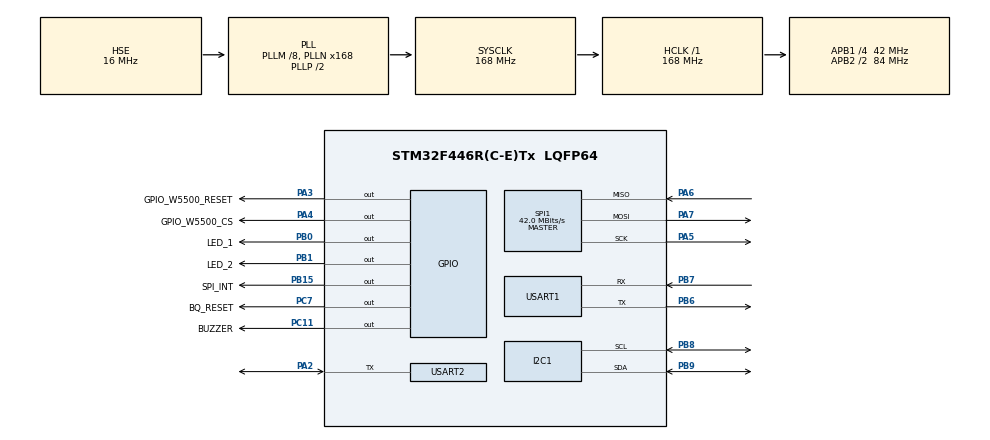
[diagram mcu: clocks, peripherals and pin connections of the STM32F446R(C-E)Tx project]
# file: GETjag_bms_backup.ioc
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Dma.I2C1_RX.0.Direction=DMA_PERIPH_TO_MEMORY
Dma.I2C1_RX.0.FIFOMode=DMA_FIFOMODE_DISABLE
Dma.I2C1_RX.0.Instance=DMA1_Stream0
Dma.I2C1_RX.0.MemDataAlignment=DMA_MDATAALIGN_BYTE
Dma.I2C1_RX.0.MemInc=DMA_MINC_ENABLE
Dma.I2C1_RX.0.Mode=DMA_NORMAL
Dma.I2C1_RX.0.PeriphDataAlignment=DMA_PDATAALIGN_BYTE
Dma.I2C1_RX.0.PeriphInc=DMA_PINC_DISABLE
Dma.I2C1_RX.0.Priority=DMA_PRIORITY_LOW
Dma.I2C1_TX.1.Direction=DMA_MEMORY_TO_PERIPH
Dma.I2C1_TX.1.FIFOMode=DMA_FIFOMODE_DISABLE
Dma.I2C1_TX.1.Instance=DMA1_Stream6
Dma.I2C1_TX.1.MemDataAlignment=DMA_MDATAALIGN_BYTE
Dma.I2C1_TX.1.MemInc=DMA_MINC_ENABLE
Dma.I2C1_TX.1.Mode=DMA_NORMAL
Dma.I2C1_TX.1.PeriphDataAlignment=DMA_PDATAALIGN_BYTE
Dma.I2C1_TX.1.PeriphInc=DMA_PINC_DISABLE
Dma.I2C1_TX.1.Priority=DMA_PRIORITY_LOW
Dma.Request0=I2C1_RX
Dma.Request1=I2C1_TX
Mcu.Family=STM32F4
Mcu.Name=STM32F446R(C-E)Tx
Mcu.Package=LQFP64
NVIC.DMA1_Stream0_IRQn=true\:0\:0\:false\:false\:true\:false\:true\:true
NVIC.DMA1_Stream6_IRQn=true\:0\:0\:false\:false\:true\:false\:true\:true
NVIC.PriorityGroup=NVIC_PRIORITYGROUP_4
NVIC.TIM6_DAC_IRQn=true\:15\:0\:false\:false\:true\:false\:true\:true
NVIC.TimeBase=TIM6_DAC_IRQn
NVIC.TimeBaseIP=TIM6
PA13.Signal=SYS_JTMS-SWDIO
PA14.GPIO_Label=TCK
PA14.Signal=SYS_JTCK-SWCLK
PA2.Mode=Half_duplex(single_wire_mode)
PA2.Signal=USART2_TX
PA3.GPIO_Label=GPIO_W5500_RESET
PA3.Signal=GPIO_Output
PA4.GPIO_Label=GPIO_W5500_CS
PA4.Signal=GPIO_Output
PA5.Mode=Full_Duplex_Master
PA5.Signal=SPI1_SCK
PA6.Mode=Full_Duplex_Master
PA6.Signal=SPI1_MISO
PA7.Mode=Full_Duplex_Master
PA7.Signal=SPI1_MOSI
PB0.GPIO_Label=LED_1
PB0.Signal=GPIO_Output
PB1.GPIO_Label=LED_2
PB1.Signal=GPIO_Output
PB15.GPIO_Label=SPI_INT
PB15.Signal=GPIO_Output
PB6.Mode=Asynchronous
PB6.Signal=USART1_TX
PB7.Mode=Asynchronous
PB7.Signal=USART1_RX
PB8.Mode=I2C
PB8.Signal=I2C1_SCL
PB9.Mode=I2C
PB9.Signal=I2C1_SDA
PC11.GPIO_Label=BUZZER
PC11.GPIO_PuPd=GPIO_NOPULL
PC11.Signal=GPIO_Output
PC7.GPIO_Label=BQ_RESET
PC7.GPIO_PuPd=GPIO_PULLDOWN
PC7.Signal=GPIO_Output
PH0-OSC_IN.Mode=HSE-External-Oscillator
PH0-OSC_IN.Signal=RCC_OSC_IN
PH1-OSC_OUT.Mode=HSE-External-Oscillator
PH1-OSC_OUT.Signal=RCC_OSC_OUT
ProjectManager.HeapSize=0x200
ProjectManager.StackSize=0x400
ProjectManager.TargetToolchain=STM32CubeIDE
RCC.48MHZClocksFreq_Value=84000000
RCC.AHBFreq_Value=168000000
RCC.APB1CLKDivider=RCC_HCLK_DIV4
RCC.APB1Freq_Value=42000000
RCC.APB1TimFreq_Value=84000000
RCC.APB2CLKDivider=RCC_HCLK_DIV2
RCC.APB2Freq_Value=84000000
RCC.APB2TimFreq_Value=168000000
RCC.CortexFreq_Value=168000000
RCC.FLatency-AdvancedSettings=FLASH_LATENCY_5
RCC.HCLKFreq_Value=168000000
RCC.HSE_VALUE=16000000
RCC.HSI_VALUE=16000000
RCC.PLLM=8
RCC.PLLN=168
RCC.PLLSourceVirtual=RCC_PLLSOURCE_HSE
RCC.SYSCLKFreq_VALUE=168000000
RCC.SYSCLKSource=RCC_SYSCLKSOURCE_PLLCLK
RCC.USBFreq_Value=168000000
RCC.VCOOutputFreq_Value=336000000
SPI1.CalculateBaudRate=42.0 MBits/s
SPI1.Direction=SPI_DIRECTION_2LINES
SPI1.Mode=SPI_MODE_MASTER
SPI1.VirtualType=VM_MASTER
USART1.VirtualMode=VM_ASYNC
USART2.VirtualMode=VM_ASYNC
VP_SYS_VS_tim6.Mode=TIM6
VP_TIM10_VS_ClockSourceINT.Mode=Enable_Timer
board=NUCLEO-F446RE

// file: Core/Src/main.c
/* USER CODE BEGIN Header */
/**
 ******************************************************************************
 * @file           : main.c
 * @brief          : Main program body
 ******************************************************************************
 * @attention
 *
 * Copyright (c) 2024 STMicroelectronics.
 * All rights reserved.
 *
 * This software is licensed under terms that can be found in the LICENSE file
 * in the root directory of this software component.
 * If no LICENSE file comes with this software, it is provided AS-IS.
 *
 ******************************************************************************
 */
/* USER CODE END Header */
#include "main.h"

/* USER CODE BEGIN Includes */
// #include "delay.h"
#include "spi.h"
#include "modbus.h"
#include <stdio.h>
#include <stdlib.h>
#include <stdarg.h>
#include <string.h>
#include "socket.h"
#include "wizchip_conf.h"
#include "FreeRTOS.h"
#include "task.h"
#include "BQ769x2Header.h"
#include "utils.h"
/* USER CODE END Includes */

/* USER CODE BEGIN PTD */
typedef enum
{
  Bit_RESET = 0,
  Bit_SET
} BitAction;

/* USER CODE END PTD */

/* USER CODE BEGIN PD */
/* USER CODE BEGIN PD */
#define HTTP_SOCKET 0
// #define PORT_TCPS 5000
#define DATA_BUF_SIZE 2048
uint8_t gDATABUF[DATA_BUF_SIZE];
#define SEPARATOR "=============================================\r\n"
#define WELCOME_MSG "Welcome to STM32Nucleo Ethernet configuration\r\n"
#define NETWORK_MSG "Network configuration:\r\n"
#define IP_MSG "  IP ADDRESS:  %d.%d.%d.%d\r\n"
#define NETMASK_MSG "  NETMASK:     %d.%d.%d.%d\r\n"
#define GW_MSG "  GATEWAY:     %d.%d.%d.%d\r\n"
#define MAC_MSG "  MAC ADDRESS: %x:%x:%x:%x:%x:%x\r\n"
#define GREETING_MSG "Well done guys! Welcome to the IoT world. Bye!\r\n"
#define CONN_ESTABLISHED_MSG "Connection established with remote IP: %d.%d.%d.%d:%d\r\n"
#define SENT_MESSAGE_MSG "Sent a message. Let's close the socket!\r\n"
#define WRONG_RETVAL_MSG "Something went wrong; return value: %d\r\n"
#define WRONG_STATUS_MSG "Something went wrong; STATUS: %d\r\n"
#define LISTEN_ERR_MSG "LISTEN Error!\r\n"

#define PRINT_STR(msg)                                            \
  do                                                              \
  {                                                               \
    HAL_UART_Transmit(&huart2, (uint8_t *)msg, strlen(msg), 100); \
  } while (0)

#define PRINT_HEADER()                                                            \
  do                                                                              \
  {                                                                               \
    HAL_UART_Transmit(&huart2, (uint8_t *)SEPARATOR, strlen(SEPARATOR), 100);     \
    HAL_UART_Transmit(&huart2, (uint8_t *)WELCOME_MSG, strlen(WELCOME_MSG), 100); \
    HAL_UART_Transmit(&huart2, (uint8_t *)SEPARATOR, strlen(SEPARATOR), 100);     \
  } while (0)

#define PRINT_NETINFO(netInfo)                                                                                             \
  do                                                                                                                       \
  {                                                                                                                        \
    HAL_UART_Transmit(&huart2, (uint8_t *)NETWORK_MSG, strlen(NETWORK_MSG), 100);                                          \
    sprintf(msg, MAC_MSG, netInfo.mac[0], netInfo.mac[1], netInfo.mac[2], netInfo.mac[3], netInfo.mac[4], netInfo.mac[5]); \
    HAL_UART_Transmit(&huart2, (uint8_t *)msg, strlen(msg), 100);                                                          \
    sprintf(msg, IP_MSG, netInfo.ip[0], netInfo.ip[1], netInfo.ip[2], netInfo.ip[3]);                                      \
    HAL_UART_Transmit(&huart2, (uint8_t *)msg, strlen(msg), 100);                                                          \
    sprintf(msg, NETMASK_MSG, netInfo.sn[0], netInfo.sn[1], netInfo.sn[2], netInfo.sn[3]);                                 \
    HAL_UART_Transmit(&huart2, (uint8_t *)msg, strlen(msg), 100);                                                          \
    sprintf(msg, GW_MSG, netInfo.gw[0], netInfo.gw[1], netInfo.gw[2], netInfo.gw[3]);                                      \
    HAL_UART_Transmit(&huart2, (uint8_t *)msg, strlen(msg), 100);                                                          \
  } while (0)

char msg[60];

#define LISTEN_PORT 502
#define RECEIVE_BUFF_SIZE 128

#define EEPROM_I2C_ADDRESS 0xA0
#define EEPROM_MEM_ADDRESS_SIZE I2C_MEMADD_SIZE_16BIT

// Enable cycle count for STM32
#define DWT_CTRL (*(volatile uint32_t *)0xE0001000)

// BQ76952 definations
#define EEPROM_ADDRESS 0x57 << 1
#define DEV_ADDR 0x10 // BQ769x2 address is 0x10 including R/W bit or 0x8 as 7-bit address
#define CRC_Mode 0    // 0 for disabled, 1 for enabled
#define MAX_BUFFER_SIZE 10
#define R 0  // Read; Used in DirectCommands and Subcommands functions
#define W 1  // Write; Used in DirectCommands and Subcommands functions
#define W2 2 // Write data with two bytes; Used in Subcommands function
#define NEW_I2C_ADDR 0x12

/* USER CODE END PD */

I2C_HandleTypeDef hi2c1;
DMA_HandleTypeDef hdma_i2c1_rx;
DMA_HandleTypeDef hdma_i2c1_tx;

SPI_HandleTypeDef hspi1;

TIM_HandleTypeDef htim10;

UART_HandleTypeDef huart1;
UART_HandleTypeDef huart2;

/* USER CODE BEGIN PV */
int16_t statusClient;
uint8_t statusSlave;
uint8_t tcp_error = 0;
uint8_t rtu_error = 0;
uint8_t TX_buffer[128];
uint8_t send_size;
uint8_t RX_buffer[128];
uint8_t recv_size;
uint16_t cntSend = 0;

uint8_t FrameNrBytes = 0;

// Set I.P address of slave

wiz_NetInfo gWIZNETINFO = {
    .mac = {0x00, 0x08, 0xdc, 0xab, 0xcd, 0xef},
    .ip = {192, 168, 137, 14},
    .sn = {255, 255, 255, 0},
    .gw = {192, 168, 3, 1},
    .dns = {8, 8, 8, 8},
    .dhcp = NETINFO_STATIC};
uint8_t RX_buffer[RX_buffer_length];

uint16_t holding_register[64] = {
    0x00, 0x00, 0x00, 0x00, 0x00, 0x00, 0x00, 0x00,
    0x00, 0x00, 0x00, 0x00, 0x00, 0x00, 0x00, 0x00,
    0x00, 0x00, 0x00, 0x00, 0x00, 0x00, 0x00, 0x00,
    0x00, 0x00, 0x00, 0x00, 0x00, 0x00, 0x00, 0x00,
    0x00, 0x00, 0x00, 0x00, 0x00, 0x00, 0x00, 0x00,
    0x00, 0x00, 0x00, 0x00, 0x00, 0x00, 0x00, 0x00,
    0x00, 0x00, 0x00, 0x00, 0x00, 0x00, 0x00, 0x00,
    0x00, 0x00, 0x00, 0x00, 0x00, 0x00, 0x00, 0x00
};

float ocv_simple[11] = {4.16, 4.07, 3.99, 3.90, 3.82, 3.72, 3.61, 3.53, 3.38, 3.20, 2.85};
float soc_simple[11] = {100.0, 90.0, 80.0, 70.0, 60.0, 50.0, 40.0, 30.0, 20.0, 10.0, 0.0};

TaskHandle_t modbus_task_handle = NULL;
TaskHandle_t task1_handle = NULL;
TaskHandle_t readVoltage_handle = NULL;
BaseType_t status;

uint8_t sr = 0x00;

// BQ78952 Private Variables
uint8_t RX_data[2] = {0x00, 0x00}; // used in several functions to store data read from BQ769x2
uint8_t RX_32Byte[32] = {0x00, 0x00, 0x00, 0x00, 0x00, 0x00, 0x00, 0x00, 0x00, 0x00, 0x00, 0x00, 0x00, 0x00, 0x00, 0x00,
                         0x00, 0x00, 0x00, 0x00, 0x00, 0x00, 0x00, 0x00, 0x00, 0x00, 0x00, 0x00, 0x00, 0x00, 0x00, 0x00};
// used in Subcommands read function
// Global Variables for cell voltages, temperatures, Stack voltage, PACK Pin voltage, LD Pin voltage, CC2 current
uint16_t CellVoltage[16] = {0x00, 0x00, 0x00, 0x00, 0x00, 0x00, 0x00, 0x00, 0x00, 0x00, 0x00, 0x00, 0x00, 0x00, 0x00, 0x00};
float Temperature[3] = {0, 0, 0};
uint16_t Stack_Voltage = 0x00;
uint16_t Pack_Voltage = 0x00;
uint16_t LD_Voltage = 0x00;
uint16_t Pack_Current = 0x00;

uint16_t AlarmBits = 0x00;
uint8_t value_SafetyStatusA; // Safety Status Register A
uint8_t value_SafetyStatusB; // Safety Status Register B
uint8_t value_SafetyStatusC; // Safety Status Register C
uint8_t value_PFStatusA;     // Permanent Fail Status Register A
uint8_t value_PFStatusB;     // Permanent Fail Status Register B
uint8_t value_PFStatusC;     // Permanent Fail Status Register C
uint8_t FET_Status;          // FET Status register contents  - Shows states of FETs
uint16_t CB_ActiveCells;     // Cell Balancing Active Cells

uint8_t UV_Fault = 0;             // under-voltage fault state
uint8_t OV_Fault = 0;             // over-voltage fault state
uint8_t SCD_Fault = 0;            // short-circuit fault state
uint8_t OCD_Fault = 0;            // over-current fault state
uint8_t ProtectionsTriggered = 0; // Set to 1 if any protection triggers

uint8_t LD_ON = 0; // Load Detect status bit
uint8_t DSG = 0;   // discharge FET state
uint8_t CHG = 0;   // charge FET state
uint8_t PCHG = 0;  // pre-charge FET state
uint8_t PDSG = 0;  // pre-discharge FET state

uint32_t AccumulatedCharge_Int;  // in BQ769x2_READPASSQ func
uint32_t AccumulatedCharge_Frac; // in BQ769x2_READPASSQ func
uint32_t AccumulatedCharge_Time; // in BQ769x2_READPASSQ func

/* USER CODE END PV */

void SystemClock_Config(void);
static void MX_GPIO_Init(void);
static void MX_DMA_Init(void);
static void MX_USART1_UART_Init(void);
static void MX_SPI1_Init(void);
static void MX_USART2_UART_Init(void);
static void MX_I2C1_Init(void);
static void MX_TIM10_Init(void);
/* USER CODE BEGIN PFP */

void wizchip_select(void);
void wizchip_deselect(void);
void wizchip_write(uint8_t wb);
uint8_t wizchip_read();

// Initialize Network information and display it
void network_init(void);
void PHYStatusCheck(void);
void PrintPHYConf(void);
void DelayIncCnt(void);

static void modbus_comm_task(void *parameters);
static void task1_handler(void *parameters);
static void readVoltage_task(void *parameters);

void delayUS(uint32_t us)
{                                    // Sets the delay in microseconds.
  __HAL_TIM_SET_COUNTER(&htim10, 0); // set the counter value a 0
  while (__HAL_TIM_GET_COUNTER(&htim10) < us)
    ; // wait for the counter to reach the us input in the parameter
}

void CopyArray(uint8_t *source, uint8_t *dest, uint8_t count)
{
  uint8_t copyIndex = 0;
  for (copyIndex = 0; copyIndex < count; copyIndex++)
  {
    dest[copyIndex] = source[copyIndex];
  }
}

unsigned char Checksum(unsigned char *ptr, unsigned char len)
// Calculates the checksum when writing to a RAM register. The checksum is the inverse of the sum of the bytes.
{
  unsigned char i;
  unsigned char checksum = 0;

  for (i = 0; i < len; i++)
    checksum += ptr[i];

  checksum = 0xff & ~checksum;

  return (checksum);
}

unsigned char CRC8(unsigned char *ptr, unsigned char len)
// Calculates CRC8 for passed bytes. Used in i2c read and write functions
{
  unsigned char i;
  unsigned char crc = 0;
  while (len-- != 0)
  {
    for (i = 0x80; i != 0; i /= 2)
    {
      if ((crc & 0x80) != 0)
      {
        crc *= 2;
        crc ^= 0x107;
      }
      else
        crc *= 2;

      if ((*ptr & i) != 0)
        crc ^= 0x107;
    }
    ptr++;
  }
  return (crc);
}

void I2C_WriteReg(uint8_t reg_addr, uint8_t *reg_data, uint8_t count)
{
  uint8_t TX_Buffer[MAX_BUFFER_SIZE] = {0x00, 0x00, 0x00, 0x00, 0x00, 0x00, 0x00, 0x00, 0x00, 0x00};
#if CRC_Mode
  {
    uint8_t crc_count = 0;
    crc_count = count * 2;
    uint8_t crc1stByteBuffer[3] = {0x10, reg_addr, reg_data[0]};
    unsigned int j;
    unsigned int i;
    uint8_t temp_crc_buffer[3];

    TX_Buffer[0] = reg_data[0];
    TX_Buffer[1] = CRC8(crc1stByteBuffer, 3);

    j = 2;
    for (i = 1; i < count; i++)
    {
      TX_Buffer[j] = reg_data[i];
      j = j + 1;
      temp_crc_buffer[0] = reg_data[i];
      TX_Buffer[j] = CRC8(temp_crc_buffer, 1);
      j = j + 1;
    }
    HAL_I2C_Mem_Write(&hi2c1, DEV_ADDR, reg_addr, 1, TX_Buffer, crc_count, 1000);
  }
#else
  HAL_I2C_Mem_Write(&hi2c1, DEV_ADDR, reg_addr, 1, reg_data, count, HAL_MAX_DELAY);
#endif
}

int I2C_ReadReg(uint8_t reg_addr, uint8_t *reg_data, uint8_t count)
{
  unsigned int RX_CRC_Fail = 0; // reset to 0. If in CRC Mode and CRC fails, this will be incremented.
  uint8_t RX_Buffer[MAX_BUFFER_SIZE] = {0x00, 0x00, 0x00, 0x00, 0x00, 0x00, 0x00, 0x00, 0x00, 0x00};
#if CRC_Mode
  {
    uint8_t crc_count = 0;
    uint8_t ReceiveBuffer[10] = {0x00, 0x00, 0x00, 0x00, 0x00, 0x00, 0x00, 0x00, 0x00, 0x00};
    crc_count = count * 2;
    unsigned int j;
    unsigned int i;
    unsigned char CRCc = 0;
    uint8_t temp_crc_buffer[3];

    HAL_I2C_Mem_Read(&hi2c1, DEV_ADDR, reg_addr, 1, ReceiveBuffer, crc_count, 1000);
    uint8_t crc1stByteBuffer[4] = {0x10, reg_addr, 0x11, ReceiveBuffer[0]};
    CRCc = CRC8(crc1stByteBuffer, 4);
    if (CRCc != ReceiveBuffer[1])
    {
      RX_CRC_Fail += 1;
    }
    RX_Buffer[0] = ReceiveBuffer[0];

    j = 2;
    for (i = 1; i < count; i++)
    {
      RX_Buffer[i] = ReceiveBuffer[j];
      temp_crc_buffer[0] = ReceiveBuffer[j];
      j = j + 1;
      CRCc = CRC8(temp_crc_buffer, 1);
      if (CRCc != ReceiveBuffer[j])
        RX_CRC_Fail += 1;
      j = j + 1;
    }
    CopyArray(RX_Buffer, reg_data, crc_count);
  }
#else
  HAL_I2C_Mem_Read(&hi2c1, DEV_ADDR, reg_addr, 1, reg_data, count, HAL_MAX_DELAY);
#endif
  return 0;
}

void BQ769x2_SetRegister(uint16_t reg_addr, uint32_t reg_data, uint8_t datalen)
{
	uint8_t TX_Buffer[2] = {0x00, 0x00};
	uint8_t TX_RegData[6] = {0x00, 0x00, 0x00, 0x00, 0x00, 0x00};

	//TX_RegData in little endian format
	TX_RegData[0] = reg_addr & 0xff;
	TX_RegData[1] = (reg_addr >> 8) & 0xff;
	TX_RegData[2] = reg_data & 0xff; //1st byte of data

	switch(datalen)
    {
		case 1: //1 byte datalength
      		I2C_WriteReg(0x3E, TX_RegData, 3);
			delayUS(2000);
			TX_Buffer[0] = Checksum(TX_RegData, 3);
			TX_Buffer[1] = 0x05; //combined length of register address and data
			uint8_t statusLow = 0xFF;
			    uint8_t statusHigh = 0xFF;
			    do {
			        I2C_ReadReg(0x3E, &statusLow, 1);
			        I2C_ReadReg(0x3F, &statusHigh, 1);
			    } while (statusLow == 0xFF && statusHigh == 0xFF);

      		I2C_WriteReg(0x60, TX_Buffer, 2); // Write the checksum and length
			delayUS(2000);
			break;
		case 2: //2 byte datalength
			TX_RegData[3] = (reg_data >> 8) & 0xff;
			I2C_WriteReg(0x3E, TX_RegData, 4);
			delayUS(2000);
			TX_Buffer[0] = Checksum(TX_RegData, 4);
			TX_Buffer[1] = 0x06; //combined length of register address and data
			statusLow = 0xFF;
			statusHigh = 0xFF;
			    do {
			        I2C_ReadReg(0x3E, &statusLow, 1);
			        I2C_ReadReg(0x3F, &statusHigh, 1);
			    } while (statusLow == 0xFF && statusHigh == 0xFF);

      		I2C_WriteReg(0x60, TX_Buffer, 2); // Write the checksum and length
			delayUS(2000);
			break;
		case 4: //4 byte datalength, Only used for CCGain and Capacity Gain
			TX_RegData[3] = (reg_data >> 8) & 0xff;
			TX_RegData[4] = (reg_data >> 16) & 0xff;
			TX_RegData[5] = (reg_data >> 24) & 0xff;
			I2C_WriteReg(0x3E, TX_RegData, 6);
			delayUS(2000);
			TX_Buffer[0] = Checksum(TX_RegData, 6);
			TX_Buffer[1] = 0x08; //combined length of register address and data
      		I2C_WriteReg(0x60, TX_Buffer, 2); // Write the checksum and length
			delayUS(2000);
			break;
    }
}

uint16_t BQ769x2_ReadRegister(uint16_t reg_addr)
{
  uint8_t TX_RegAddr[2] = {0}; // Array to hold the register address
  uint8_t RX_Buffer[2] = {0};  // Array to hold the received data

  // Populate the TX_RegAddr array with the register address
  TX_RegAddr[0] = reg_addr & 0xFF;        // Lower byte of register address
  TX_RegAddr[1] = (reg_addr >> 8) & 0xFF; // Upper byte of register address

  // Write the register address to the 0x3E register
  I2C_WriteReg(0x3E, TX_RegAddr, 2);
  delayUS(2000); // Delay to allow time for the write to complete

  // Poll the 0x3E register until it no longer returns 0xFF
  uint8_t statusLow = 0xFF;
  uint8_t statusHigh = 0xFF;
  do
  {
    I2C_ReadReg(0x3E, &statusLow, 1);
    I2C_ReadReg(0x3F, &statusHigh, 1);
  } while (statusLow == 0xFF && statusHigh == 0xFF);

  // HAL_Delay(200);
  //  Read the data from the buffer starting at 0x40
  I2C_ReadReg(0x40, RX_Buffer, 2);

  // Combine the received bytes into a single 16-bit value
  RX_data[0] = RX_Buffer[0];
  RX_data[1] = RX_Buffer[1];
  uint16_t reg_data = (RX_Buffer[1] << 8) | RX_Buffer[0];

  return reg_data;
}

void I2C_WriteReg(uint8_t reg, uint8_t *data, uint8_t length);

// Function to write a register in BQ769x2
void BQ769x2_WriteRegister(uint16_t reg_addr, uint8_t *reg_data, uint8_t datalen)
{
  uint8_t TX_RegData[3]; // Array to hold data to be written (address + data)

  // Convert register address (16-bit) to 2 bytes (little-endian format)
  TX_RegData[0] = reg_addr & 0xFF;        // Lower byte
  TX_RegData[1] = (reg_addr >> 8) & 0xFF; // Upper byte

  // Copy register data to TX buffer
  for (int i = 0; i < datalen; i++)
  {
    TX_RegData[i + 2] = reg_data[i];
  }

  // Write to the BQ769x2 device
  I2C_WriteReg(0x3E, TX_RegData, datalen + 2);
}

void CommandSubcommands(uint16_t command) // For Command only Subcommands
// See the TRM or the BQ76952 header file for a full list of Command-only subcommands
{ // For DEEPSLEEP/SHUTDOWN subcommand you will need to call this function twice consecutively

  uint8_t TX_Reg[2] = {0x00, 0x00};

  // TX_Reg in little endian format
  TX_Reg[0] = command & 0xff;
  TX_Reg[1] = (command >> 8) & 0xff;

  I2C_WriteReg(0x3E, TX_Reg, 2);
  delayUS(2000);
}

void Subcommands(uint16_t command, uint16_t data, uint8_t type)
// See the TRM or the BQ76952 header file for a full list of Subcommands
{
  // security keys and Manu_data writes dont work with this function (reading these commands works)
  // max readback size is 32 bytes i.e. DASTATUS, CUV/COV snapshot
  uint8_t TX_Reg[4] = {0x00, 0x00, 0x00, 0x00};
  uint8_t TX_Buffer[2] = {0x00, 0x00};
  uint8_t lowByte;
  uint8_t highByte;

  I2C_ReadReg(0x3E, &lowByte, 1);
  I2C_ReadReg(0x3F, &highByte, 1);
  // TX_Reg in little endian format
  TX_Reg[0] = command & 0xff;
  TX_Reg[1] = (command >> 8) & 0xff;

  if (type == R)
  { // read
    I2C_WriteReg(0x3E, TX_Reg, 2);
    do
    {
      I2C_ReadReg(0x3E, &lowByte, 1);
      I2C_ReadReg(0x3F, &highByte, 1);
    } while (lowByte == 0xFF && highByte == 0xFF);

    // delayUS(100000);

    I2C_ReadReg(0x40, RX_32Byte, 32); // RX_32Byte is a global variable
  }
  else if (type == W)
  {
    // FET_Control, REG12_Control
    TX_Reg[2] = data & 0xff;
    I2C_WriteReg(0x3E, TX_Reg, 3);
    delayUS(1000);
    TX_Buffer[0] = Checksum(TX_Reg, 3);
    TX_Buffer[1] = 0x05; // combined length of registers address and data
    I2C_WriteReg(0x60, TX_Buffer, 2);
    delayUS(1000);
  }
  else if (type == W2)
  { // write data with 2 bytes
    // CB_Active_Cells, CB_SET_LVL
    TX_Reg[2] = data & 0xff;
    TX_Reg[3] = (data >> 8) & 0xff;
    I2C_WriteReg(0x3E, TX_Reg, 4);
    delayUS(1000);
    TX_Buffer[0] = Checksum(TX_Reg, 4);
    TX_Buffer[1] = 0x06; // combined length of registers address and data
    I2C_WriteReg(0x60, TX_Buffer, 2);
    delayUS(1000);
  }
}

void DirectCommands(uint8_t command, uint16_t data, uint8_t type)
// See the TRM or the BQ76952 header file for a full list of Direct Commands
{ // type: R = read, W = write
  uint8_t TX_data[2] = {0x00, 0x00};

  // little endian format
  TX_data[0] = data & 0xff;
  TX_data[1] = (data >> 8) & 0xff;

  if (type == R)
  {                                   // Read
    I2C_ReadReg(command, RX_data, 2); // RX_data is a global variable
    delayUS(2000);
  }
  if (type == W)
  { // write
    // Control_status, alarm_status, alarm_enable all 2 bytes long
    I2C_WriteReg(command, TX_data, 2);
    delayUS(2000);
  }
}

void BQ769x2_Init()
{
  // Configures all parameters in device RAM

  // Enter CONFIGUPDATE mode (Subcommand 0x0090) - It is required to be in CONFIG_UPDATE mode to program the device RAM settings
  // See TRM for full description of CONFIG_UPDATE mode
  CommandSubcommands(SET_CFGUPDATE);

  // After entering CONFIG_UPDATE mode, RAM registers can be programmed. When programming RAM, checksum and length must also be
  // programmed for the change to take effect. All of the RAM registers are described in detail in the BQ769x2 TRM.
  // An easier way to find the descriptions is in the BQStudio Data Memory screen. When you move the mouse over the register name,
  // a full description of the register and the bits will pop up on the screen.

  // 'Power Config' - 0x9234 = 0x2D80
  // Setting the DSLP_LDO bit allows the LDOs to remain active when the device goes into Deep Sleep mode
  // Set wake speed bits to 00 for best performance
  BQ769x2_SetRegister(PowerConfig, 0x2D80, 2);

  // 'REG0 Config' - set REG0_EN bit to enable pre-regulator
  BQ769x2_SetRegister(REG0Config, 0x00, 1);

  // 'REG12 Config' - Enable REG1 with 3.3V output (0x0D for 3.3V, 0x0F for 5V)
  // BQ769x2_SetRegister(REG12Config, 0x0D, 1);

  // Set DFETOFF pin to control BOTH CHG and DSG FET - 0x92FB = 0x42 (set to 0x00 to disable)
  // BQ769x2_SetRegister(DFETOFFPinConfig, 0x42, 1);

  // Set up ALERT Pin - 0x92FC = 0x2A
  // This configures the ALERT pin to drive high (REG1 voltage) when enabled.
  // The ALERT pin can be used as an interrupt to the MCU when a protection has triggered or new measurements are available
  BQ769x2_SetRegister(ALERTPinConfig, 0x2A, 1);

  // Set TS1 to measure Cell Temperature - 0x92FD = 0x07
  // BQ769x2_SetRegister(TS1Config, 0x07, 1);

  // Set TS3 to measure FET Temperature - 0x92FF = 0x0F
  // BQ769x2_SetRegister(TS3Config, 0x0F, 1);

  // Set HDQ to measure Cell Temperature - 0x9300 = 0x07
  // BQ769x2_SetRegister(HDQPinConfig, 0x00, 1);  // No thermistor installed on EVM HDQ pin, so set to 0x00

  // 'VCell Mode' - Enable 16 cells - 0x9304 = 0x0000; Writing 0x0000 sets the default of 16 cells
  BQ769x2_SetRegister(VCellMode, 0x801F, 2); // default 0x0000

  // Enable protections in 'Enabled Protections A' 0x9261 = 0xBC
  // Enables SCD (short-circuit), OCD1 (over-current in discharge), OCC (over-current in charge),
  // COV (over-voltage), CUV (under-voltage)
  BQ769x2_SetRegister(EnabledProtectionsA, 0xBC, 1);

  // Enable all protections in 'Enabled Protections B' 0x9262 = 0xF7
  // Enables OTF (over-temperature FET), OTINT (internal over-temperature), OTD (over-temperature in discharge),
  // OTC (over-temperature in charge), UTINT (internal under-temperature), UTD (under-temperature in discharge), UTC (under-temperature in charge)
  BQ769x2_SetRegister(EnabledProtectionsB, 0xF7, 1);

  // 'Default Alarm Mask' - 0x..82 Enables the FullScan and ADScan bits, default value = 0xF800
  BQ769x2_SetRegister(DefaultAlarmMask, 0xF882, 2);

  // Set up Cell Balancing Configuration - 0x9335 = 0x03   -  Automated balancing while in Relax or Charge modes
  // Also see "Cell Balancing with BQ769x2 Battery Monitors" document on ti.com
  BQ769x2_SetRegister(BalancingConfiguration, 0x03, 1);

  // Set up CUV (under-voltage) Threshold - 0x9275 = 0x31 (2479 mV)
  // CUV Threshold is this value multiplied by 50.6mV
  BQ769x2_SetRegister(CUVThreshold, 0x23, 1);

  // Set up COV (over-voltage) Threshold - 0x9278 = 0x55 (4301 mV)
  // COV Threshold is this value multiplied by 50.6mV
  BQ769x2_SetRegister(COVThreshold, 0x55, 1);

  // Set up OCC (over-current in charge) Threshold - 0x9280 = 0x05 (10 mV = 10A across 1mOhm sense resistor) Units in 2mV
  BQ769x2_SetRegister(OCCThreshold, 0x05, 1);

  // Set up OCD1 Threshold - 0x9282 = 0x0A (20 mV = 20A across 1mOhm sense resistor) units of 2mV
  BQ769x2_SetRegister(OCD1Threshold, 0x0A, 1);

  // Set up SCD Threshold - 0x9286 = 0x05 (100 mV = 100A across 1mOhm sense resistor)  0x05=100mV
  BQ769x2_SetRegister(SCDThreshold, 0x05, 1);

  // Set up SCD Delay - 0x9287 = 0x03 (30 us) Enabled with a delay of (value - 1) * 15 µs; min value of 1
  BQ769x2_SetRegister(SCDDelay, 0x03, 1);

  // Set up SCDL Latch Limit to 1 to set SCD recovery only with load removal 0x9295 = 0x01
  // If this is not set, then SCD will recover based on time (SCD Recovery Time parameter).
  BQ769x2_SetRegister(SCDLLatchLimit, 0x01, 1);

  // Exit CONFIGUPDATE mode  - Subcommand 0x0092
  CommandSubcommands(EXIT_CFGUPDATE);
}
//  ********************************* FET Control Commands  ***************************************

void BQ769x2_BOTHOFF()
{
  // Disables all FETs using the DFETOFF (BOTHOFF) pin
  // The DFETOFF pin on the BQ76952EVM should be connected to the MCU board to use this function
  HAL_GPIO_WritePin(GPIOA, GPIO_PIN_8, GPIO_PIN_SET); // DFETOFF pin (BOTHOFF) set high
}

void BQ769x2_RESET_BOTHOFF()
{
  // Resets DFETOFF (BOTHOFF) pin
  // The DFETOFF pin on the BQ76952EVM should be connected to the MCU board to use this function
  HAL_GPIO_WritePin(GPIOA, GPIO_PIN_8, GPIO_PIN_RESET); // DFETOFF pin (BOTHOFF) set low
}

void BQ769x2_ReadFETStatus()
{
  // Read FET Status to see which FETs are enabled
  DirectCommands(FETStatus, 0x00, R);
  FET_Status = (RX_data[1] * 256 + RX_data[0]);
  DSG = ((0x4 & RX_data[0]) >> 2);  // discharge FET state
  CHG = (0x1 & RX_data[0]);         // charge FET state
  PCHG = ((0x2 & RX_data[0]) >> 1); // pre-charge FET state
  PDSG = ((0x8 & RX_data[0]) >> 3); // pre-discharge FET state
}

// ********************************* End of FET Control Commands *********************************

// ********************************* BQ769x2 Power Commands   *****************************************

void BQ769x2_ShutdownPin()
{
  // Puts the device into SHUTDOWN mode using the RST_SHUT pin
  // The RST_SHUT pin on the BQ76952EVM should be connected to the MCU board to use this function
  HAL_GPIO_WritePin(GPIOA, GPIO_PIN_9, GPIO_PIN_SET); // Sets RST_SHUT pin
}

void BQ769x2_ReleaseShutdownPin()
{
  // Releases the RST_SHUT pin
  // The RST_SHUT pin on the BQ76952EVM should be connected to the MCU board to use this function
  HAL_GPIO_WritePin(GPIOA, GPIO_PIN_9, GPIO_PIN_RESET); // Resets RST_SHUT pin
}

// ********************************* End of BQ769x2 Power Commands   *****************************************

// ********************************* BQ769x2 Status and Fault Commands   *****************************************

uint16_t BQ769x2_ReadAlarmStatus()
{
  // Read this register to find out why the ALERT pin was asserted
  DirectCommands(AlarmStatus, 0x00, R);
  return (RX_data[1] * 256 + RX_data[0]);
}

void BQ769x2_ReadSafetyStatus()
{ // good example functions
  // Read Safety Status A/B/C and find which bits are set
  // This shows which primary protections have been triggered
  DirectCommands(SafetyStatusA, 0x00, R);
  value_SafetyStatusA = (RX_data[1] * 256 + RX_data[0]);
  // Example Fault Flags
  UV_Fault = ((0x4 & RX_data[0]) >> 2);
  OV_Fault = ((0x8 & RX_data[0]) >> 3);
  SCD_Fault = ((0x8 & RX_data[1]) >> 3);
  OCD_Fault = ((0x2 & RX_data[1]) >> 1);
  DirectCommands(SafetyStatusB, 0x00, R);
  value_SafetyStatusB = (RX_data[1] * 256 + RX_data[0]);
  DirectCommands(SafetyStatusC, 0x00, R);
  value_SafetyStatusC = (RX_data[1] * 256 + RX_data[0]);
  if ((value_SafetyStatusA + value_SafetyStatusB + value_SafetyStatusC) > 1)
  {
    ProtectionsTriggered = 1;
  }
  else
  {
    ProtectionsTriggered = 0;
  }
}

void BQ769x2_ReadPFStatus()
{
  // Read Permanent Fail Status A/B/C and find which bits are set
  // This shows which permanent failures have been triggered
  DirectCommands(PFStatusA, 0x00, R);
  value_PFStatusA = (RX_data[1] * 256 + RX_data[0]);
  DirectCommands(PFStatusB, 0x00, R);
  value_PFStatusB = (RX_data[1] * 256 + RX_data[0]);
  DirectCommands(PFStatusC, 0x00, R);
  value_PFStatusC = (RX_data[1] * 256 + RX_data[0]);
}

// ********************************* End of BQ769x2 Status and Fault Commands   *****************************************

// ********************************* BQ769x2 Measurement Commands   *****************************************

uint16_t BQ769x2_ReadVoltage(uint8_t command)
// This function can be used to read a specific cell voltage or stack / pack / LD voltage
{
  // RX_data is global var
  DirectCommands(command, 0x00, R);
  if (command >= Cell1Voltage && command <= Cell16Voltage)
  {                                         // Cells 1 through 16 (0x14 to 0x32)
    return (RX_data[1] * 256 + RX_data[0]); // voltage is reported in mV
  }
  else
  {                                              // stack, Pack, LD
    return 10 * (RX_data[1] * 256 + RX_data[0]); // voltage is reported in 0.01V units
  }
}
void BQ769x2_ReadAllVoltages()
// Reads all cell voltages, Stack voltage, PACK pin voltage, and LD pin voltage
{
  int cellvoltageholder = Cell1Voltage; // Cell1Voltage is 0x14
  for (int x = 0; x < 16; x++)
  { // Reads all cell voltages
    CellVoltage[x] = BQ769x2_ReadVoltage(cellvoltageholder);
    cellvoltageholder = cellvoltageholder + 2;
  }
  Stack_Voltage = BQ769x2_ReadVoltage(StackVoltage);
  Pack_Voltage = BQ769x2_ReadVoltage(PACKPinVoltage);
  LD_Voltage = BQ769x2_ReadVoltage(LDPinVoltage);
}

uint16_t BQ769x2_ReadCurrent()
// Reads PACK current
{
  DirectCommands(CC2Current, 0x00, R);
  return (RX_data[1] * 256 + RX_data[0]); // current is reported in mA
}

float BQ769x2_ReadTemperature(uint8_t command)
{
  DirectCommands(command, 0x00, R);
  // RX_data is a global var
  return (0.1 * (float)(RX_data[1] * 256 + RX_data[0])) - 273.15; // converts from 0.1K to Celcius
}

void BQ769x2_ReadPassQ()
{ // Read Accumulated Charge and Time from DASTATUS6
  Subcommands(DASTATUS6, 0x00, R);
  AccumulatedCharge_Int = ((RX_32Byte[3] << 24) + (RX_32Byte[2] << 16) + (RX_32Byte[1] << 8) + RX_32Byte[0]);    // Bytes 0-3
  AccumulatedCharge_Frac = ((RX_32Byte[7] << 24) + (RX_32Byte[6] << 16) + (RX_32Byte[5] << 8) + RX_32Byte[4]);   // Bytes 4-7
  AccumulatedCharge_Time = ((RX_32Byte[11] << 24) + (RX_32Byte[10] << 16) + (RX_32Byte[9] << 8) + RX_32Byte[8]); // Bytes 8-11
}

uint8_t EEPROM_ReadByte(uint16_t MemAddress)
{
  uint8_t data;
  HAL_StatusTypeDef status;

  // Send the memory address to the EEPROM
  status = HAL_I2C_Mem_Read(&hi2c1, EEPROM_ADDRESS, MemAddress, I2C_MEMADD_SIZE_16BIT, &data, 1, HAL_MAX_DELAY);

  // Check if the read was successful
  if (status != HAL_OK)
  {
    // Handle error
    // You can add your error handling code here
  }

  return data;
}

// ********************************* End of BQ769x2 Measurement Commands   *****************************************

/* USER CODE END PFP */

int main(void)
{

  /* USER CODE BEGIN 1 */
  uint8_t memsize[2][8] = {{2, 2, 2, 2, 2, 2, 2, 2}, {2, 2, 2, 2, 2, 2, 2, 2}};

  /* USER CODE END 1 */

  /* MCU Configuration--------------------------------------------------------*/

  /* Reset of all peripherals, Initializes the Flash interface and the Systick. */
  HAL_Init();

  /* Configure the system clock */
  SystemClock_Config();

  /* Initialize all configured peripherals */
  MX_GPIO_Init();
  MX_DMA_Init();
  MX_USART1_UART_Init();
  MX_SPI1_Init();
  MX_USART2_UART_Init();
  MX_I2C1_Init();
  MX_TIM10_Init();
  /* USER CODE BEGIN 2 */

  // Enable cycle count for STM32

  DWT_CTRL |= (1 << 0);
  SEGGER_SYSVIEW_Conf();
  SEGGER_SYSVIEW_Start();

  HAL_GPIO_TogglePin(LED_2_GPIO_Port, LED_2_Pin);
  HAL_Delay(200);

  // Create Tasks and Start Scheduler
  // status = xTaskCreate(modbus_comm_task, "Modbus_comm", 200, NULL, 3, &modbus_task_handle);
  // configASSERT(status==pdPASS);

  // status = xTaskCreate(task1_handler, "Task_1", 200, NULL, 1, &task1_handle);
  // configASSERT(status==pdPASS);

  // vTaskStartScheduler();
  /* Chip selection call back */

  // HAL_GPIO_TogglePin(LED_1_GPIO_Port, LED_1_Pin);
  // HAL_Delay(200);
  HAL_GPIO_TogglePin(LED_2_GPIO_Port, LED_2_Pin);
  HAL_Delay(200);
  // vTaskDelay(pdMS_TO_TICKS(200));

  HAL_GPIO_WritePin(GPIO_W5500_RESET_GPIO_Port, GPIO_W5500_RESET_Pin, GPIO_PIN_RESET);
  HAL_Delay(100);
  HAL_GPIO_WritePin(GPIO_W5500_RESET_GPIO_Port, GPIO_W5500_RESET_Pin, GPIO_PIN_SET);
  HAL_Delay(1000);

  /* SPI Read & Write callback function */
  reg_wizchip_cs_cbfunc(wizchip_select, wizchip_deselect);
  reg_wizchip_spi_cbfunc(wizchip_read, wizchip_write);

  ////////////////////////////////////////////////////////////////////////
  /* WIZCHIP SOCKET Buffer initialize */
  if (ctlwizchip(CW_INIT_WIZCHIP, (void *)memsize) == -1)
  {

    while (1)
      ;
  }

  /* Network initialization */
  network_init();
  wizchip_setnetinfo(&gWIZNETINFO);
  PRINT_NETINFO(gWIZNETINFO);

  ctlnetwork(CN_SET_NETINFO, (void *)&gWIZNETINFO);

  // Configure PHY by software for maximum compatibility
  // so that user can use any model w5500 board
  // else the PINs on the board configure it, which may
  // lead to different configurations in different boards.
  wiz_PhyConf phyconf;

  phyconf.by = PHY_CONFBY_SW;
  phyconf.duplex = PHY_DUPLEX_FULL;
  phyconf.speed = PHY_SPEED_10;     // 10MBps Ethernet link speed
  phyconf.mode = PHY_MODE_AUTONEGO; // best to go with auto-negotiation

  ctlwizchip(CW_SET_PHYCONF, (void *)&phyconf); // PHY Configuration Command
  //*** End Phy Configuration

  PHYStatusCheck();
  PrintPHYConf();
  HAL_GPIO_TogglePin(LED_1_GPIO_Port, LED_1_Pin);
  HAL_Delay(200);
  HAL_GPIO_TogglePin(LED_2_GPIO_Port, LED_2_Pin);
  HAL_Delay(200);

  HAL_TIM_Base_Start(&htim10);
  delayUS(10000);
  // CommandSubcommands(BQ769x2_RESET); // Resets the BQ769x2 registers
  // delayUS(60000);
  BQ769x2_Init(); // Configure all of the BQ769x2 register settings
  delayUS(10000);
  CommandSubcommands(FET_ENABLE); // Enable the CHG and DSG FETs
  delayUS(10000);
  CommandSubcommands(SLEEP_DISABLE); // Sleep mode is enabled by default. For this example, Sleep is disabled to
                                     // demonstrate full-speed measurements in Normal mode.

  delayUS(60000);
  delayUS(60000);
  delayUS(60000);
  delayUS(60000);

  status = xTaskCreate(modbus_comm_task, "Modbus_comm", 200, NULL, 3, &modbus_task_handle);
   configASSERT(status == pdPASS);

   status = xTaskCreate(task1_handler, "Led_blink", 200, NULL, 1, &task1_handle);
   configASSERT(status == pdPASS);

   status = xTaskCreate(readVoltage_task, "read_voltage", 200, NULL, 2, &readVoltage_handle);
   configASSERT(status == pdPASS);

  vTaskStartScheduler();

  /* USER CODE END 2 */

  /* Infinite loop */
  while (1)
  {

  }
}

void SystemClock_Config(void)
{
  RCC_OscInitTypeDef RCC_OscInitStruct = {0};
  RCC_ClkInitTypeDef RCC_ClkInitStruct = {0};

  /** Configure the main internal regulator output voltage
   */
  __HAL_RCC_PWR_CLK_ENABLE();
  __HAL_PWR_VOLTAGESCALING_CONFIG(PWR_REGULATOR_VOLTAGE_SCALE1);

  /** Initializes the RCC Oscillators according to the specified parameters
   * in the RCC_OscInitTypeDef structure.
   */
  RCC_OscInitStruct.OscillatorType = RCC_OSCILLATORTYPE_HSE;
  RCC_OscInitStruct.HSEState = RCC_HSE_ON;
  RCC_OscInitStruct.PLL.PLLState = RCC_PLL_ON;
  RCC_OscInitStruct.PLL.PLLSource = RCC_PLLSOURCE_HSE;
  RCC_OscInitStruct.PLL.PLLM = 8;
  RCC_OscInitStruct.PLL.PLLN = 168;
  RCC_OscInitStruct.PLL.PLLP = RCC_PLLP_DIV2;
  RCC_OscInitStruct.PLL.PLLQ = 2;
  RCC_OscInitStruct.PLL.PLLR = 2;
  if (HAL_RCC_OscConfig(&RCC_OscInitStruct) != HAL_OK)
  {
    Error_Handler();
  }

  /** Initializes the CPU, AHB and APB buses clocks
   */
  RCC_ClkInitStruct.ClockType = RCC_CLOCKTYPE_HCLK | RCC_CLOCKTYPE_SYSCLK | RCC_CLOCKTYPE_PCLK1 | RCC_CLOCKTYPE_PCLK2;
  RCC_ClkInitStruct.SYSCLKSource = RCC_SYSCLKSOURCE_PLLCLK;
  RCC_ClkInitStruct.AHBCLKDivider = RCC_SYSCLK_DIV1;
  RCC_ClkInitStruct.APB1CLKDivider = RCC_HCLK_DIV4;
  RCC_ClkInitStruct.APB2CLKDivider = RCC_HCLK_DIV2;

  if (HAL_RCC_ClockConfig(&RCC_ClkInitStruct, FLASH_LATENCY_5) != HAL_OK)
  {
    Error_Handler();
  }
}

static void MX_I2C1_Init(void)
{

  hi2c1.Instance = I2C1;
  hi2c1.Init.ClockSpeed = 100000;
  hi2c1.Init.DutyCycle = I2C_DUTYCYCLE_2;
  hi2c1.Init.OwnAddress1 = 0;
  hi2c1.Init.AddressingMode = I2C_ADDRESSINGMODE_7BIT;
  hi2c1.Init.DualAddressMode = I2C_DUALADDRESS_DISABLE;
  hi2c1.Init.OwnAddress2 = 0;
  hi2c1.Init.GeneralCallMode = I2C_GENERALCALL_DISABLE;
  hi2c1.Init.NoStretchMode = I2C_NOSTRETCH_DISABLE;
  if (HAL_I2C_Init(&hi2c1) != HAL_OK)
  {
    Error_Handler();
  }
}

static void MX_SPI1_Init(void)
{

  /* SPI1 parameter configuration*/
  hspi1.Instance = SPI1;
  hspi1.Init.Mode = SPI_MODE_MASTER;
  hspi1.Init.Direction = SPI_DIRECTION_2LINES;
  hspi1.Init.DataSize = SPI_DATASIZE_8BIT;
  hspi1.Init.CLKPolarity = SPI_POLARITY_LOW;
  hspi1.Init.CLKPhase = SPI_PHASE_1EDGE;
  hspi1.Init.NSS = SPI_NSS_SOFT;
  hspi1.Init.BaudRatePrescaler = SPI_BAUDRATEPRESCALER_2;
  hspi1.Init.FirstBit = SPI_FIRSTBIT_MSB;
  hspi1.Init.TIMode = SPI_TIMODE_DISABLE;
  hspi1.Init.CRCCalculation = SPI_CRCCALCULATION_DISABLE;
  hspi1.Init.CRCPolynomial = 10;
  if (HAL_SPI_Init(&hspi1) != HAL_OK)
  {
    Error_Handler();
  }
}

static void MX_TIM10_Init(void)
{

  htim10.Instance = TIM10;
  htim10.Init.Prescaler = 0;
  htim10.Init.CounterMode = TIM_COUNTERMODE_UP;
  htim10.Init.Period = 65535;
  htim10.Init.ClockDivision = TIM_CLOCKDIVISION_DIV1;
  htim10.Init.AutoReloadPreload = TIM_AUTORELOAD_PRELOAD_DISABLE;
  if (HAL_TIM_Base_Init(&htim10) != HAL_OK)
  {
    Error_Handler();
  }
}

static void MX_USART1_UART_Init(void)
{

  huart1.Instance = USART1;
  huart1.Init.BaudRate = 115200;
  huart1.Init.WordLength = UART_WORDLENGTH_8B;
  huart1.Init.StopBits = UART_STOPBITS_1;
  huart1.Init.Parity = UART_PARITY_NONE;
  huart1.Init.Mode = UART_MODE_TX_RX;
  huart1.Init.HwFlowCtl = UART_HWCONTROL_NONE;
  huart1.Init.OverSampling = UART_OVERSAMPLING_16;
  if (HAL_UART_Init(&huart1) != HAL_OK)
  {
    Error_Handler();
  }
}

static void MX_USART2_UART_Init(void)
{

  huart2.Instance = USART2;
  huart2.Init.BaudRate = 115200;
  huart2.Init.WordLength = UART_WORDLENGTH_8B;
  huart2.Init.StopBits = UART_STOPBITS_1;
  huart2.Init.Parity = UART_PARITY_NONE;
  huart2.Init.Mode = UART_MODE_TX_RX;
  huart2.Init.HwFlowCtl = UART_HWCONTROL_NONE;
  huart2.Init.OverSampling = UART_OVERSAMPLING_16;
  if (HAL_HalfDuplex_Init(&huart2) != HAL_OK)
  {
    Error_Handler();
  }
}

static void MX_DMA_Init(void)
{

  /* DMA controller clock enable */
  __HAL_RCC_DMA1_CLK_ENABLE();

  /* DMA interrupt init */
  /* DMA1_Stream0_IRQn interrupt configuration */
  HAL_NVIC_SetPriority(DMA1_Stream0_IRQn, 0, 0);
  HAL_NVIC_EnableIRQ(DMA1_Stream0_IRQn);
  /* DMA1_Stream6_IRQn interrupt configuration */
  HAL_NVIC_SetPriority(DMA1_Stream6_IRQn, 0, 0);
  HAL_NVIC_EnableIRQ(DMA1_Stream6_IRQn);
}

static void MX_GPIO_Init(void)
{
  GPIO_InitTypeDef GPIO_InitStruct = {0};

  /* GPIO Ports Clock Enable */
  __HAL_RCC_GPIOH_CLK_ENABLE();
  __HAL_RCC_GPIOA_CLK_ENABLE();
  __HAL_RCC_GPIOB_CLK_ENABLE();
  __HAL_RCC_GPIOC_CLK_ENABLE();

  /*Configure GPIO pin Output Level */
  HAL_GPIO_WritePin(GPIOA, GPIO_W5500_RESET_Pin | GPIO_W5500_CS_Pin, GPIO_PIN_RESET);

  /*Configure GPIO pin Output Level */
  HAL_GPIO_WritePin(GPIOB, LED_1_Pin | LED_2_Pin | SPI_INT_Pin, GPIO_PIN_RESET);

  /*Configure GPIO pin Output Level */
  HAL_GPIO_WritePin(BUZZER_GPIO_Port, BUZZER_Pin, GPIO_PIN_RESET);

  /*Configure GPIO pins : GPIO_W5500_RESET_Pin GPIO_W5500_CS_Pin */
  GPIO_InitStruct.Pin = GPIO_W5500_RESET_Pin | GPIO_W5500_CS_Pin;
  GPIO_InitStruct.Mode = GPIO_MODE_OUTPUT_PP;
  GPIO_InitStruct.Pull = GPIO_NOPULL;
  GPIO_InitStruct.Speed = GPIO_SPEED_FREQ_LOW;
  HAL_GPIO_Init(GPIOA, &GPIO_InitStruct);

  /*Configure GPIO pins : LED_1_Pin LED_2_Pin SPI_INT_Pin */
  GPIO_InitStruct.Pin = LED_1_Pin | LED_2_Pin | SPI_INT_Pin;
  GPIO_InitStruct.Mode = GPIO_MODE_OUTPUT_PP;
  GPIO_InitStruct.Pull = GPIO_NOPULL;
  GPIO_InitStruct.Speed = GPIO_SPEED_FREQ_LOW;
  HAL_GPIO_Init(GPIOB, &GPIO_InitStruct);

  /*Configure GPIO pin : BUZZER_Pin */
  GPIO_InitStruct.Pin = BUZZER_Pin;
  GPIO_InitStruct.Mode = GPIO_MODE_OUTPUT_PP;
  GPIO_InitStruct.Pull = GPIO_NOPULL;
  GPIO_InitStruct.Speed = GPIO_SPEED_FREQ_LOW;
  HAL_GPIO_Init(BUZZER_GPIO_Port, &GPIO_InitStruct);

}

/* USER CODE BEGIN 4 */

static void modbus_comm_task(void *parameters)
{
  PRINT_STR("MODBUS WHILE LOOP\r\n");

  while (1)
  {
    HAL_GPIO_TogglePin(LED_1_GPIO_Port, LED_1_Pin);
    printf("\r\nInitializing server socket\r\n");
    vTaskDelay(pdMS_TO_TICKS(100));
    // Parameters in order socket_id, protocol TCP or UDP, Port number, Flags=0
    // Return value is socket ID on success
    if (socket(1, Sn_MR_TCP, LISTEN_PORT, 0) != 1)
    {
      // error
      printf("Cannot create Socket!\r\n");
      vTaskDelay(pdMS_TO_TICKS(200)); // Delay before retrying
      continue;                       // Retry initialization
    }

    // success
    printf("Socket Created Successfully ! \r\n");

    uint8_t socket_io_mode = SOCK_IO_BLOCK;
    ctlsocket(1, CS_SET_IOMODE, &socket_io_mode); // set blocking IO mode

    printf("Start listening on port %d ! \r\n", LISTEN_PORT);
    printf("Waiting for a client connection. \r\n");

    // Make it a passive socket (i.e. listen for connection)
    if (listen(1) != SOCK_OK) // our socket id is 1 (w5500 have 8 sockets from 0-7)
    {
      // error
      printf("Cannot listen on port %d", LISTEN_PORT);
      vTaskDelay(pdMS_TO_TICKS(1000)); // Delay before retrying
      continue;                        // Retry initialization
    }

    uint8_t sr = 0x00;                                               // socket status register
    TickType_t xTimeOut = xTaskGetTickCount() + pdMS_TO_TICKS(5000); // 5-second timeout

    // Wait for a client connection with timeout
    do
    {
      sr = getSn_SR(1);               // read status reg (SR of socket 1)
      vTaskDelay(pdMS_TO_TICKS(100)); // Allow other tasks to run
    } while (sr != 0x17 && sr != 0x00 && xTaskGetTickCount() < xTimeOut);

    if (sr == 0x00)
    {
      printf("Some error occurred on server socket. Retrying...\r\n");
      vTaskDelay(pdMS_TO_TICKS(1000)); // Delay before retrying
      continue;                        // Retry initialization
    }

    if (sr == 0x17)
    {
      // we come here only when a client has connected.
      // Now we can read data from the socket
      printf("A client connected!\r\n");
      printf("Waiting for Client Data ...!\r\n");

      while (1)
      {
        int len = recv(1, RX_buffer, RX_buffer_length);
        if (len == SOCKERR_SOCKSTATUS)
        {
          // client has disconnected
          printf("Client has disconnected\r\n");
          printf("*** SESSION OVER ***\r\n\r\n");
          break; // Exit client communication loop
        }

        RX_buffer[len] = '\0';
        printf("Received %d bytes from client\r\n", len);
        printf("Data Received: %s", RX_buffer);

        memset(TX_buffer, 0, sizeof(TX_buffer));
        modbus_receive(RX_buffer, TX_buffer, len, holding_register);
        // holding_register[3] = holding_register[3] + 1;

        printf("\r\nECHO sent back to client\r\n");

        // Look for quit message and quit if received
        if (strcmp((char *)RX_buffer, "QUIT") == 0)
        {
          printf("Received QUIT command from client\r\n");
          printf("Disconnecting ... \r\n");
          printf("*** SESSION OVER ***\r\n\r\n");
          disconnect(1); // disconnect from the client
          break;         // Exit client communication loop
        }

        vTaskDelay(pdMS_TO_TICKS(100)); // Allow other tasks to run
      } // While loop (as long as client is connected)
    } // if block, client connect success
  } // outer while loop
}

static void task1_handler(void *parameters)
{

  while (1)
  {
    PRINT_STR("TASK2 WHILE LOOP\r\n");

    HAL_GPIO_TogglePin(LED_2_GPIO_Port, LED_2_Pin);
    vTaskDelay(pdMS_TO_TICKS(100));
    // HAL_Delay(500);

    // taskYIELD();
  }
}

static void readVoltage_task(void *parameters)
{

  while (1)
  {
	int size = sizeof(ocv_simple) / sizeof(ocv_simple[0]);

	BQ769x2_ReadAllVoltages();
	BQ769x2_ReadPassQ();
	Pack_Current = BQ769x2_ReadCurrent();
	Temperature[0] = BQ769x2_ReadTemperature(TS1Temperature);
	Temperature[1] = BQ769x2_ReadTemperature(TS3Temperature);

	holding_register[0] = (uint16_t)roundf(interpolate(ocv_simple, soc_simple, size, ((CellVoltage[0]))/1000.0f));
	holding_register[1] = (uint16_t)roundf(interpolate_SOC(ocv_simple, soc_simple, size, ((CellVoltage[1]))/1000.0f));
	holding_register[2] = (uint16_t)roundf(interpolate_SOC(ocv_simple, soc_simple, size, ((CellVoltage[2]))/1000.0f));
	holding_register[3] = (uint16_t)roundf(interpolate_SOC(ocv_simple, soc_simple, size, ((CellVoltage[3]))/1000.0f));
	holding_register[4] = (uint16_t)roundf(interpolate_SOC(ocv_simple, soc_simple, size, ((CellVoltage[4]))/1000.0f));
	holding_register[5] = (uint16_t)roundf(interpolate_SOC(ocv_simple, soc_simple, size, ((CellVoltage[15]))/1000.0f));

	holding_register[6] = (CellVoltage[0]);
	holding_register[7] = (CellVoltage[1]);
	holding_register[8] = (CellVoltage[2]);
	holding_register[9] = (CellVoltage[3]);
	holding_register[10] = (CellVoltage[4]);
	holding_register[11] = (CellVoltage[15]);

	//    holding_register[2] = CellVoltage[2];
	//    holding_register[3] = CellVoltage[3];
	//    holding_register[4] = CellVoltage[4];
	//holding_register[5] = CellVoltage[15];
	holding_register[12] = (CellVoltage[5]);
	holding_register[13] = (CellVoltage[6]);
	holding_register[14] = (CellVoltage[7]);

	holding_register[15] = BQ769x2_ReadVoltage(StackVoltage);
	holding_register[16] = BQ769x2_ReadCurrent();
	holding_register[17] = BQ769x2_ReadVoltage(PACKPinVoltage);

    // HAL_Delay(5000);
    uint16_t alarm;
    alarm = BQ769x2_ReadAlarmStatus();
    AlarmBits = BQ769x2_ReadAlarmStatus();
    if (AlarmBits & 0x80)
    { // Check if FULLSCAN is complete. If set, new measurements are available
      BQ769x2_ReadAllVoltages();
      Pack_Current = BQ769x2_ReadCurrent();
      // Temperature[0] = BQ769x2_ReadTemperature(TS1Temperature);
      // Temperature[1] = BQ769x2_ReadTemperature(TS3Temperature);
      DirectCommands(AlarmStatus, 0x0080, W); // Clear the FULLSCAN bit
                                              //	  			HAL_GPIO_TogglePin(LED_2_GPIO_Port, LED_2_Pin);
                                              //	  				  HAL_Delay(100);
    }
    else
    {
    }

    vTaskDelay(pdMS_TO_TICKS(500));
  }
}
void HAL_SYSTICK_Callback()
{
  DelayIncCnt();
}

uint8_t W5500_rxtx(uint8_t data)
{
  uint8_t rxdata;

  HAL_SPI_TransmitReceive(&hspi1, &data, &rxdata, 1, 50);

  return (rxdata);
}

void wizchip_select(void)
{
  W5500_select();
}

void wizchip_deselect(void)
{
  W5500_release();
}

void wizchip_write(uint8_t wb)
{
  W5500_tx(wb);
}

uint8_t wizchip_read()
{
  return W5500_rx();
}

//////////////////////////////////////////////////////////////////////////

/////////////////////////////////////////////////////////////
// Intialize the network information to be used in WIZCHIP //
/////////////////////////////////////////////////////////////
void network_init(void)
{
  uint8_t tmpstr[6];

  ctlnetwork(CN_SET_NETINFO, (void *)&gWIZNETINFO);

  ctlwizchip(CW_GET_ID, (void *)tmpstr);
}

void UWriteData(const char data)
{
  while (__HAL_UART_GET_FLAG(&huart1, UART_FLAG_TXE) == RESET)
    ;

  huart1.Instance->DR = data;
}

int __io_putchar(int ch)
{
  UWriteData(ch);
  return ch;
}

void PHYStatusCheck(void)
{
  uint8_t tmp;

  do
  {
    printf("\r\nChecking Ethernet Cable Presence ...");
    ctlwizchip(CW_GET_PHYLINK, (void *)&tmp);

    if (tmp == PHY_LINK_OFF)
    {
      printf("NO Cable Connected!");

      HAL_GPIO_WritePin(LED_2_GPIO_Port, LED_2_Pin, 1);
      HAL_Delay(500);
      // HAL_GPIO_TogglePin(BUZZER_GPIO_Port, BUZZER_Pin);
      // HAL_Delay(200);
    }
  } while (tmp == PHY_LINK_OFF);

  printf("Good! Cable got connected!");
}

void PrintPHYConf(void)
{
  wiz_PhyConf phyconf;

  ctlwizchip(CW_GET_PHYCONF, (void *)&phyconf);

  if (phyconf.by == PHY_CONFBY_HW)
  {
    printf("\r\nPHY Configured by Hardware Pins");
  }
  else
  {
    printf("\r\nPHY Configured by Registers");
  }

  if (phyconf.mode == PHY_MODE_AUTONEGO)
  {
    printf("\r\nAutonegotiation Enabled");
  }
  else
  {
    printf("\r\nAutonegotiation NOT Enabled");
  }

  if (phyconf.duplex == PHY_DUPLEX_FULL)
  {
    printf("\r\nDuplex Mode: Full");
  }
  else
  {
    printf("\r\nDuplex Mode: Half");
  }

  if (phyconf.speed == PHY_SPEED_10)
  {
    printf("\r\nSpeed: 10Mbps");
  }
  else
  {
    printf("\r\nSpeed: 100Mbps");
  }
}

// Error codes and messages:
// sn   -  Success: The socket number 'sn' passed as a parameter
// 1    -  SOCK_OK
// -1   -  SOCKERR_SOCKNUM  - Invalid socket number
// -5   -  SOCKERR_SOCKMODE - Invalid operation in the socket
// -13  -  SOCKERR_TIMEOUT  - Timeout occurred
// -7   -  SOCKERR_SOCKSTATUS - Invalid socket status for socket operation
// -14  -  SOCKERR_DATALEN    - Zero data length
// -12  -  SOCKERR_IPINVALID   - Wrong server IP address
// -11  -  SOCKERR_PORTZERO    - Server port zero
// -4   -  SOCKERR_SOCKCLOSED  - Socket unexpectedly closed
// -6   -  SOCKERR_SOCKFLAG    - Invalid socket flag
// -1000 -  SOCK_FATAL  - Result is a fatal error about socket process.
// 0    -  SOCK_BUSY         - Socket is busy
// 200  -  SUCCESS_RECEIVE

/* USER CODE END 4 */

void HAL_TIM_PeriodElapsedCallback(TIM_HandleTypeDef *htim)
{
  if (htim->Instance == TIM6)
  {
    HAL_IncTick();
  }
}

void Error_Handler(void)
{
  __disable_irq();
  while (1)
  {
  }
}
